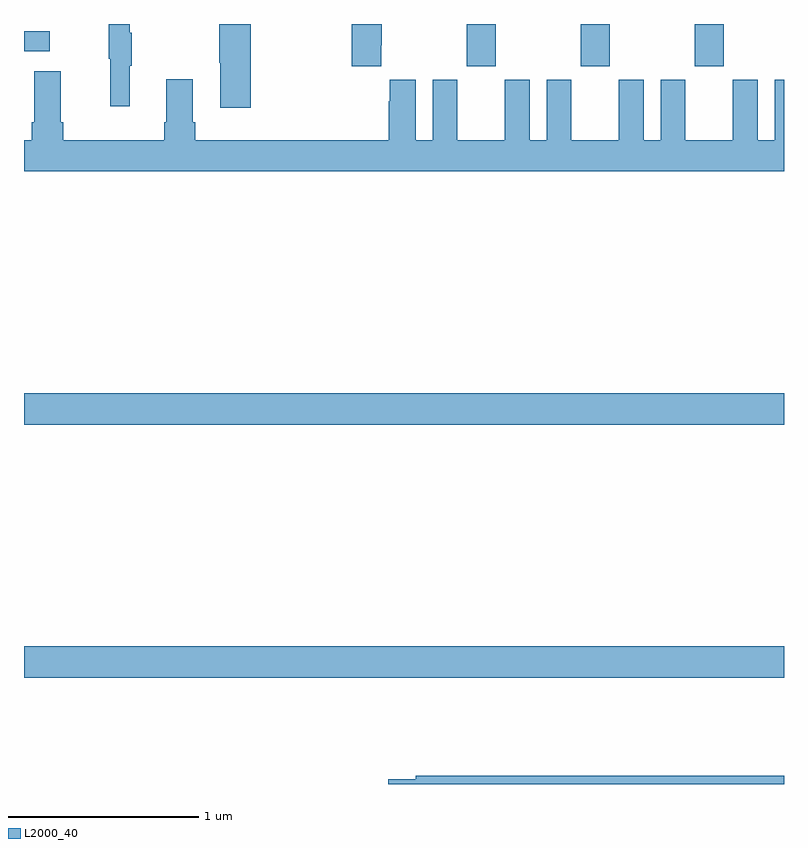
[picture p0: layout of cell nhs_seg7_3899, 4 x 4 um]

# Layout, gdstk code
import gdstk
lib = gdstk.Library(unit=1e-6, precision=1e-09)
def R(c, l, rs):  # rectangles x0, y0, x1, y1
    for r in rs: c.add(gdstk.rectangle(r[:2], r[2:], *l))
def A(c, l, x, y, w, h, nx, ny, dx, dy):  # array of equal rectangles
    R(c, l, [(x+i*dx, y+j*dy, x+i*dx+w, y+j*dy+h) for i in range(nx) for j in range(ny)])
def P(c, l, *ps):  # polygons
    for p in ps: c.add(gdstk.Polygon(p, *l))
L2000_40 = (2000, 40)

nhs_seg7_3899 = lib.new_cell('nhs_seg7_3899')
A(nhs_seg7_3899, L2000_40, 359.329, 1059.777, 0.155, 0.223, 3, 1, 0.6, 0)
R(nhs_seg7_3899, L2000_40, [(357,1056.56,361,1056.724), (357,1057.892,361,1058.056), (357,1059.857,357.136,1059.961)])
P(nhs_seg7_3899, L2000_40, [(358.193,1060),(358.027,1060),(358.027,1059.796),(358.034,1059.796),(358.034,1059.558),(358.193,1059.558)],
  [(357.557,1059.779),(357.568,1059.779),(357.568,1059.953),(357.557,1059.953),(357.557,1060),(357.447,1060),(357.447,1059.816),(357.454,1059.816),(357.454,1059.567),(357.557,1059.567)],
  [(358.879,1059.889),(358.884,1059.889),(358.884,1060),(358.724,1060),(358.724,1059.777),(358.879,1059.777)],
  [(361,1059.706),(360.95,1059.706),(360.95,1059.388),(360.862,1059.388),(360.862,1059.706),(360.731,1059.706),(360.731,1059.388),(360.481,1059.388),(360.481,1059.706),(360.35,1059.706),(360.35,1059.388),(360.262,1059.388),(360.262,1059.706),(360.131,1059.706),(360.131,1059.388),(359.881,1059.388),(359.881,1059.706),(359.75,1059.706),(359.75,1059.388),(359.662,1059.388),(359.662,1059.706),(359.531,1059.706),(359.531,1059.388),(359.281,1059.388),(359.281,1059.706),(359.15,1059.706),(359.15,1059.388),(359.062,1059.388),(359.062,1059.706),(358.925,1059.706),(358.925,1059.593),(358.919,1059.593),(358.919,1059.388),(357.902,1059.388),(357.902,1059.484),(357.889,1059.484),(357.889,1059.709),(357.749,1059.709),(357.749,1059.484),(357.737,1059.484),(357.737,1059.388),(357.206,1059.388),(357.206,1059.484),(357.193,1059.484),(357.193,1059.751),(357.053,1059.751),(357.053,1059.484),(357.041,1059.484),(357.041,1059.388),(357,1059.388),(357,1059.224),(361,1059.224)],
  [(361,1056.044),(359.062,1056.044),(359.062,1056.024),(358.916,1056.024),(358.916,1056),(361,1056)])

lib.write_gds('nhs_seg7_3899.gds')
